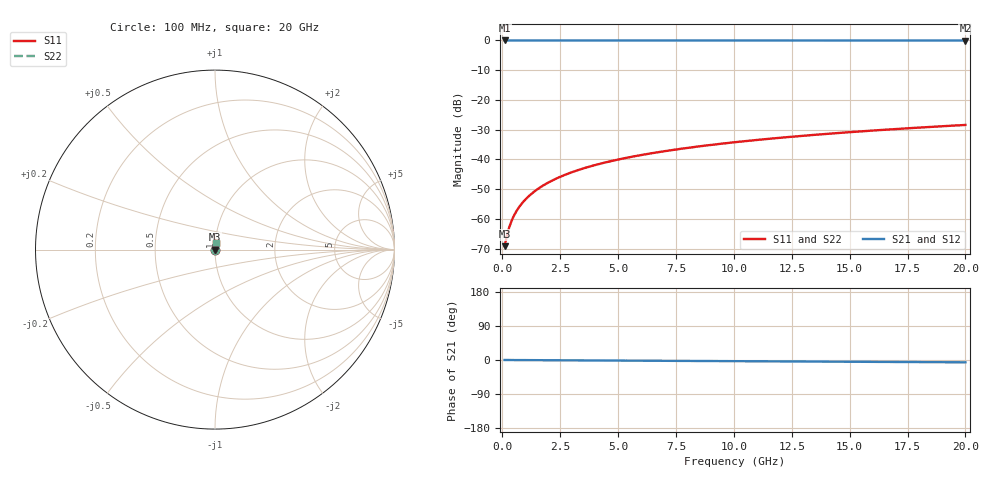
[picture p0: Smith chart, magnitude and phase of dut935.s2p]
! Touchstone file exported from HFSS 2026.1.0
!  File:  C:/ffzhzh/LocalFiles/Ansys_Project_Files/temp_train_TSV_935_1783186946_55132.aedt
!  Generated:  01:44:00 AM Jul  5, 2026
!  Design:  TSV
!  Project:  temp_train_TSV_935_1783186946_55132
! Variables:
!  h_bsmrdl = 2um
!  h_ox = 20um
!  h_rdl = 5um
!  h_sub = 54.63um
!  h_tmrdl = 5um
!  h_tsv = 54.63um
!  h_via = 3um
!  l_bsmrdl = 300um
!  l_sub = 410.44um
!  l_tmrdl = 200um
!  m_sub = 200um
!  pitch = 34.48um
!  r_tsv = 5.22um
!  s_tmrdl = 10um
!  w_bsmrdl = 18um
!  w_sub = 500um
!  w_tmrdl = 12um
!  x_tsv_center1 = 206um
!  x_tsv_center2 = 524um
!  x_tsv_center3 = 736um
!  x_tsv_center4 = 1054um
!  x_tsv_center5 = 1266um
!  x_tsv_center6 = 1584um
# GHz S MA R 50.000000
! Terminal data exported
! Port[1] = TSV1_1_T1
! Port[2] = TSV1_1_T2
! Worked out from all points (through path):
!   200 points, 100 MHz to 20 GHz, reference 50 ohm
!   highest |S21| = 0.00 dB at 100 MHz (marker M1); lowest = 0.0 dB at 20 GHz (marker M2)
!   lowest |S11| = -69.2 dB at 100 MHz (marker M3), VSWR 1.00, Z = 50 + j0.0225 ohm
!   |S11| at or under -10 dB: start of sweep to end of sweep
!   |S22| runs from -69.2 to -28.4 dB; largest |S21 - S12| = 2e-15
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0.1  0.0003481 40.2  0.9997 -0.0  0.9997 -0.0  0.0003481 40.2
! Gamma 0 0 0 0
! Port Impedance 50 0 50 0
0.2  0.0005249 58.2  0.9997 -0.1  0.9997 -0.1  0.0005249 58.2
0.3  0.0007235 66.2  0.9997 -0.1  0.9997 -0.1  0.0007235 66.2
0.4  0.0009257 70.6  0.9997 -0.1  0.9997 -0.1  0.0009257 70.6
0.5  0.001127 73.3  0.9997 -0.2  0.9997 -0.2  0.001127 73.3
0.6  0.001328 75.2  0.9997 -0.2  0.9997 -0.2  0.001328 75.2
0.8  0.001726 77.8  0.9996 -0.3  0.9996 -0.3  0.001726 77.8
1.1  0.002323 80.1  0.9996 -0.3  0.9996 -0.3  0.002323 80.1
1.3  0.002721 81.1  0.9996 -0.4  0.9996 -0.4  0.002721 81.1
1.6  0.003318 82.1  0.9996 -0.5  0.9996 -0.5  0.003318 82.1
2.1  0.004311 83.1  0.9995 -0.7  0.9995 -0.7  0.004311 83.1
2.7  0.005496 83.6  0.9995 -0.8  0.9995 -0.8  0.005496 83.6
3.5  0.00706 84.0  0.9994 -1.1  0.9994 -1.1  0.00706 84.0
4.2  0.008414 84.1  0.9993 -1.3  0.9993 -1.3  0.008414 84.1
5  0.009949 84.2  0.9992 -1.6  0.9992 -1.6  0.009949 84.2
5.9  0.01166 84.1  0.9991 -1.8  0.9991 -1.8  0.01166 84.1
6.8  0.01336 84.1  0.999 -2.1  0.999 -2.1  0.01336 84.1
8.3  0.01619 84.0  0.9989 -2.6  0.9989 -2.6  0.01619 84.0
10.1  0.01957 83.7  0.9987 -3.1  0.9987 -3.1  0.01957 83.7
13.4  0.02574 83.1  0.9984 -4.1  0.9984 -4.1  0.02574 83.1
16.7  0.03188 82.4  0.9981 -5.1  0.9981 -5.1  0.03188 82.4
20  0.03798 81.6  0.9978 -6.1  0.9978 -6.1  0.03798 81.6
